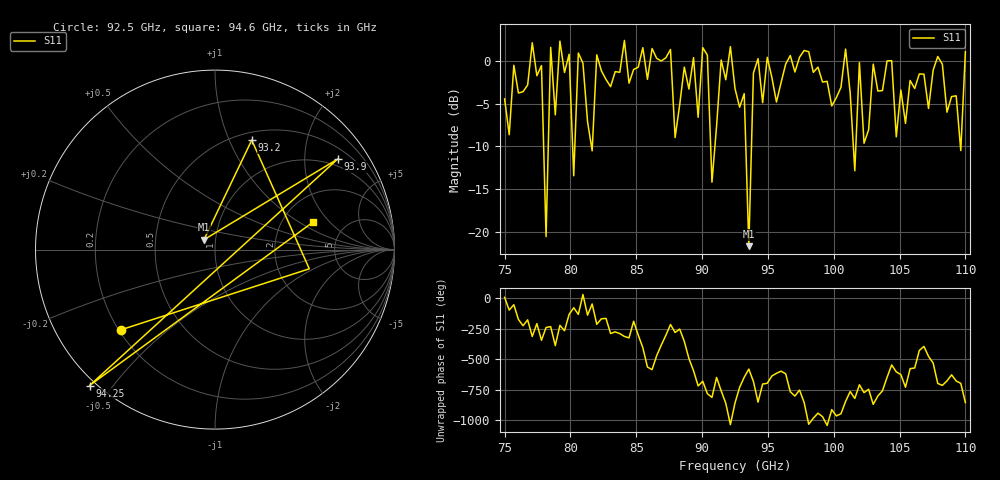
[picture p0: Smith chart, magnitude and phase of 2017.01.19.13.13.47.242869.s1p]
!Created with skrf (http://scikit-rf.org).
# GHz S RI R 50.0
!freq ReS11 ImS11
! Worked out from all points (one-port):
!   101 points, 75 GHz to 110 GHz, reference 50 ohm
!   lowest |S11| = -21.7 dB at 93.55 GHz (marker M1), VSWR 1.18, Z = 43.9 + j4.86 ohm
!   |S11| at or under -10 dB: 77.96548 GHz to 78.31674 GHz (351.3 MHz wide, 0.45 % of centre); 80.16552 GHz to 80.33363 GHz (168.1 MHz wide, 0.209 % of centre); 81.59744 GHz to 81.666 GHz (68.56 MHz wide, 0.084 % of centre) (the widest 3 of 7)
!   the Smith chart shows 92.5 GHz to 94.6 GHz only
!   S11 on the Smith chart (normalised r, x): 92.5 GHz: 0.21, -0.35; 93.2 GHz: 0.58, +1.21; 93.9 GHz: 0.78, +2.84; 94.25 GHz: -0.02, -0.44; 94.6 GHz: 2.96, +1.36
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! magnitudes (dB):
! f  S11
! 75 GHz  -4.4
! 77.8 GHz  -0.5
! 78.15 GHz  -20.5
! 78.5 GHz  1.6
! 79.55 GHz  -1.4
! 80.25 GHz  -13.4
! 80.6 GHz  0.9
! 81.65 GHz  -10.5
! 82 GHz  0.7
! 83.75 GHz  -1.3
! 88.3 GHz  -5.1
! 90.4 GHz  0.7
! 90.75 GHz  -14.2
! 91.45 GHz  0.1
! 92.5 GHz  -3.2
! 93.2 GHz  -3.8
! 93.55 GHz  -21.7
! 93.9 GHz  -1.4
! 94.25 GHz  0.3
! 94.6 GHz  -4.9
! 97.05 GHz  -1.3
! 101.2 GHz  -3.8
! 101.6 GHz  -12.8
! 102 GHz  -0.2
! 102.3 GHz  -9.6
! 105.8 GHz  -2.3
! 109.7 GHz  -10.5
! 110 GHz  1.1
